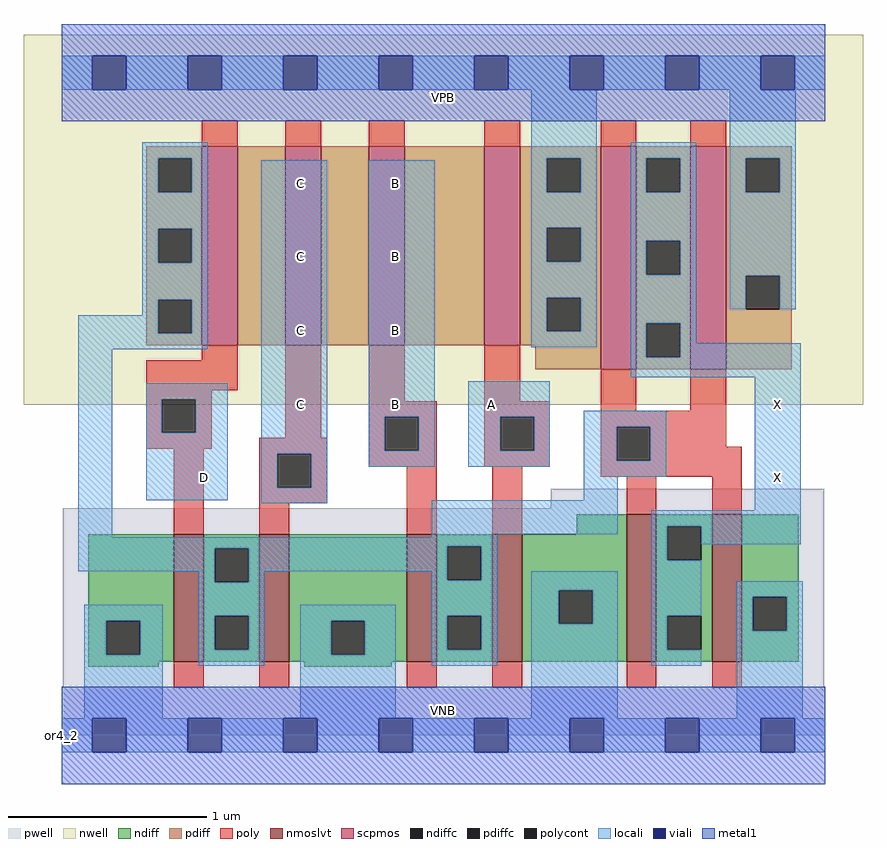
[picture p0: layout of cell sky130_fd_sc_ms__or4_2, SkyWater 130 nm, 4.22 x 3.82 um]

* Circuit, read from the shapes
.subckt sky130_fd_sc_ms__or4_2 A B C D VGND VNB VPB VPWR X
XM1 n1 D VGND VNB sky130_fd_pr__nfet_01v8_lvt w=0.64 l=0.15
XM2 VGND C n1 VNB sky130_fd_pr__nfet_01v8_lvt w=0.64 l=0.15
XM3 n1 B VGND VNB sky130_fd_pr__nfet_01v8_lvt w=0.64 l=0.15
XM4 VGND A n1 VNB sky130_fd_pr__nfet_01v8_lvt w=0.64 l=0.15
XM5 X n1 VGND VNB sky130_fd_pr__nfet_01v8_lvt w=0.74 l=0.15 m=2
XM6 n2 D n1 VPB sky130_fd_pr__pfet_01v8 w=1 l=0.18
XM7 n3 C n2 VPB sky130_fd_pr__pfet_01v8 w=1 l=0.18
XM8 n4 B n3 VPB sky130_fd_pr__pfet_01v8 w=1 l=0.18
XM9 VPWR A n4 VPB sky130_fd_pr__pfet_01v8 w=1 l=0.18
XM10 X n1 VPWR VPB sky130_fd_pr__pfet_01v8 w=1.12 l=0.18 m=2
.ends

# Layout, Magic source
magic
tech sky130A
magscale 1 2
<< nwell >>
rect -38 332 806 704
<< pwell >>
rect 492 228 767 248
rect 1 49 767 228
rect 0 0 768 49
<< scpmos >>
rect 141 392 177 592
rect 225 392 261 592
rect 309 392 345 592
rect 425 392 461 592
rect 542 368 578 592
rect 632 368 668 592
<< nmoslvt >>
rect 113 74 143 202
rect 199 74 229 202
rect 347 74 377 202
rect 433 74 463 202
rect 568 74 598 222
rect 654 74 684 222
<< ndiff >>
rect 518 202 568 222
rect 27 115 113 202
rect 27 81 45 115
rect 79 81 113 115
rect 27 74 113 81
rect 143 188 199 202
rect 143 154 154 188
rect 188 154 199 188
rect 143 120 199 154
rect 143 86 154 120
rect 188 86 199 120
rect 143 74 199 86
rect 229 115 347 202
rect 229 81 271 115
rect 305 81 347 115
rect 229 74 347 81
rect 377 190 433 202
rect 377 156 388 190
rect 422 156 433 190
rect 377 120 433 156
rect 377 86 388 120
rect 422 86 433 120
rect 377 74 433 86
rect 463 146 568 202
rect 463 112 500 146
rect 534 112 568 146
rect 463 74 568 112
rect 598 210 654 222
rect 598 176 609 210
rect 643 176 654 210
rect 598 120 654 176
rect 598 86 609 120
rect 643 86 654 120
rect 598 74 654 86
rect 684 139 741 222
rect 684 105 695 139
rect 729 105 741 139
rect 684 74 741 105
rect 27 69 98 74
rect 244 69 332 74
<< pdiff >>
rect 85 580 141 592
rect 85 546 97 580
rect 131 546 141 580
rect 85 509 141 546
rect 85 475 97 509
rect 131 475 141 509
rect 85 438 141 475
rect 85 404 97 438
rect 131 404 141 438
rect 85 392 141 404
rect 177 392 225 592
rect 261 392 309 592
rect 345 392 425 592
rect 461 580 542 592
rect 461 546 488 580
rect 522 546 542 580
rect 461 510 542 546
rect 461 476 488 510
rect 522 476 542 510
rect 461 440 542 476
rect 461 406 488 440
rect 522 406 542 440
rect 461 392 542 406
rect 476 368 542 392
rect 578 580 632 592
rect 578 546 588 580
rect 622 546 632 580
rect 578 497 632 546
rect 578 463 588 497
rect 622 463 632 497
rect 578 414 632 463
rect 578 380 588 414
rect 622 380 632 414
rect 578 368 632 380
rect 668 580 734 592
rect 668 546 688 580
rect 722 546 734 580
rect 668 462 734 546
rect 668 428 688 462
rect 722 428 734 462
rect 668 368 734 428
<< ndiffc >>
rect 45 81 79 115
rect 154 154 188 188
rect 154 86 188 120
rect 271 81 305 115
rect 388 156 422 190
rect 388 86 422 120
rect 500 112 534 146
rect 609 176 643 210
rect 609 86 643 120
rect 695 105 729 139
<< pdiffc >>
rect 97 546 131 580
rect 97 475 131 509
rect 97 404 131 438
rect 488 546 522 580
rect 488 476 522 510
rect 488 406 522 440
rect 588 546 622 580
rect 588 463 622 497
rect 588 380 622 414
rect 688 546 722 580
rect 688 428 722 462
<< poly >>
rect 141 592 177 618
rect 225 592 261 618
rect 309 592 345 618
rect 425 592 461 618
rect 542 592 578 618
rect 632 592 668 618
rect 141 377 177 392
rect 85 347 177 377
rect 85 338 151 347
rect 85 304 101 338
rect 135 304 151 338
rect 85 288 151 304
rect 225 299 261 392
rect 309 336 345 392
rect 425 336 461 392
rect 309 320 377 336
rect 113 202 143 288
rect 199 283 267 299
rect 199 249 217 283
rect 251 249 267 283
rect 309 286 325 320
rect 359 286 377 320
rect 309 270 377 286
rect 425 320 491 336
rect 425 286 441 320
rect 475 286 491 320
rect 425 270 491 286
rect 542 326 578 368
rect 632 326 668 368
rect 542 310 668 326
rect 542 276 558 310
rect 592 290 668 310
rect 592 276 684 290
rect 199 233 267 249
rect 199 202 229 233
rect 347 202 377 270
rect 433 202 463 270
rect 542 260 684 276
rect 568 222 598 260
rect 654 222 684 260
rect 113 48 143 74
rect 199 48 229 74
rect 347 48 377 74
rect 433 48 463 74
rect 568 48 598 74
rect 654 48 684 74
<< polycont >>
rect 101 304 135 338
rect 217 249 251 283
rect 325 286 359 320
rect 441 286 475 320
rect 558 276 592 310
<< locali >>
rect 0 649 31 683
rect 65 649 127 683
rect 161 649 223 683
rect 257 649 319 683
rect 353 649 415 683
rect 449 649 511 683
rect 545 649 607 683
rect 641 649 703 683
rect 737 649 768 683
rect 81 580 147 596
rect 81 546 97 580
rect 131 546 147 580
rect 472 580 538 649
rect 81 509 147 546
rect 81 475 97 509
rect 131 475 147 509
rect 81 438 147 475
rect 81 422 97 438
rect 17 404 97 422
rect 131 404 147 438
rect 17 388 147 404
rect 17 199 51 388
rect 85 338 167 354
rect 85 304 101 338
rect 135 304 167 338
rect 85 236 167 304
rect 201 283 267 578
rect 201 249 217 283
rect 251 249 267 283
rect 309 320 375 578
rect 472 546 488 580
rect 522 546 538 580
rect 472 510 538 546
rect 472 476 488 510
rect 522 476 538 510
rect 472 440 538 476
rect 472 406 488 440
rect 522 406 538 440
rect 472 390 538 406
rect 572 580 638 596
rect 572 546 588 580
rect 622 546 638 580
rect 572 497 638 546
rect 572 463 588 497
rect 622 463 638 497
rect 572 414 638 463
rect 672 580 738 649
rect 672 546 688 580
rect 722 546 738 580
rect 672 462 738 546
rect 672 428 688 462
rect 722 428 738 462
rect 572 380 588 414
rect 622 394 638 414
rect 622 380 743 394
rect 572 360 743 380
rect 309 286 325 320
rect 359 286 375 320
rect 309 270 375 286
rect 409 320 491 356
rect 409 286 441 320
rect 475 286 491 320
rect 409 270 491 286
rect 525 310 608 326
rect 525 276 558 310
rect 592 276 608 310
rect 201 233 267 249
rect 525 260 608 276
rect 525 236 559 260
rect 372 202 559 236
rect 697 226 743 360
rect 593 210 743 226
rect 372 199 438 202
rect 17 190 438 199
rect 17 188 388 190
rect 17 165 154 188
rect 138 154 154 165
rect 188 165 388 188
rect 188 154 204 165
rect 23 115 102 131
rect 23 81 45 115
rect 79 81 102 115
rect 23 17 102 81
rect 138 120 204 154
rect 372 156 388 165
rect 422 156 438 190
rect 593 176 609 210
rect 643 192 743 210
rect 138 86 154 120
rect 188 86 204 120
rect 138 70 204 86
rect 240 115 336 131
rect 240 81 271 115
rect 305 81 336 115
rect 240 17 336 81
rect 372 120 438 156
rect 372 86 388 120
rect 422 86 438 120
rect 372 70 438 86
rect 472 146 559 165
rect 472 112 500 146
rect 534 112 559 146
rect 472 17 559 112
rect 593 120 643 176
rect 593 86 609 120
rect 593 70 643 86
rect 679 139 745 155
rect 679 105 695 139
rect 729 105 745 139
rect 679 17 745 105
rect 0 -17 31 17
rect 65 -17 127 17
rect 161 -17 223 17
rect 257 -17 319 17
rect 353 -17 415 17
rect 449 -17 511 17
rect 545 -17 607 17
rect 641 -17 703 17
rect 737 -17 768 17
<< viali >>
rect 31 649 65 683
rect 127 649 161 683
rect 223 649 257 683
rect 319 649 353 683
rect 415 649 449 683
rect 511 649 545 683
rect 607 649 641 683
rect 703 649 737 683
rect 31 -17 65 17
rect 127 -17 161 17
rect 223 -17 257 17
rect 319 -17 353 17
rect 415 -17 449 17
rect 511 -17 545 17
rect 607 -17 641 17
rect 703 -17 737 17
<< metal1 >>
rect 0 683 768 715
rect 0 649 31 683
rect 65 649 127 683
rect 161 649 223 683
rect 257 649 319 683
rect 353 649 415 683
rect 449 649 511 683
rect 545 649 607 683
rect 641 649 703 683
rect 737 649 768 683
rect 0 617 768 649
rect 0 17 768 49
rect 0 -17 31 17
rect 65 -17 127 17
rect 161 -17 223 17
rect 257 -17 319 17
rect 353 -17 415 17
rect 449 -17 511 17
rect 545 -17 607 17
rect 641 -17 703 17
rect 737 -17 768 17
rect 0 -49 768 -17
<< labels >>
flabel pwell s 0 0 768 49 0 FreeSans 200 0 0 0 VNB
port 6 nsew ground bidirectional
flabel nwell s 0 617 768 666 0 FreeSans 200 0 0 0 VPB
port 7 nsew power bidirectional
rlabel comment s 0 0 0 0 4 or4_2
flabel metal1 s 0 617 768 666 0 FreeSans 340 0 0 0 VPWR
port 8 nsew power bidirectional
flabel metal1 s 0 0 768 49 0 FreeSans 340 0 0 0 VGND
port 5 nsew ground bidirectional
flabel locali s 703 242 737 276 0 FreeSans 340 0 0 0 X
port 9 nsew signal output
flabel locali s 703 316 737 350 0 FreeSans 340 0 0 0 X
port 9 nsew signal output
flabel locali s 127 242 161 276 0 FreeSans 340 0 0 0 D
port 4 nsew signal input
flabel locali s 415 316 449 350 0 FreeSans 340 0 0 0 A
port 1 nsew signal input
flabel locali s 319 316 353 350 0 FreeSans 340 0 0 0 B
port 2 nsew signal input
flabel locali s 319 390 353 424 0 FreeSans 340 0 0 0 B
port 2 nsew signal input
flabel locali s 319 464 353 498 0 FreeSans 340 0 0 0 B
port 2 nsew signal input
flabel locali s 319 538 353 572 0 FreeSans 340 0 0 0 B
port 2 nsew signal input
flabel locali s 223 316 257 350 0 FreeSans 340 0 0 0 C
port 3 nsew signal input
flabel locali s 223 390 257 424 0 FreeSans 340 0 0 0 C
port 3 nsew signal input
flabel locali s 223 464 257 498 0 FreeSans 340 0 0 0 C
port 3 nsew signal input
flabel locali s 223 538 257 572 0 FreeSans 340 0 0 0 C
port 3 nsew signal input
<< properties >>
string LEFsite unit
string LEFclass CORE
string FIXED_BBOX 0 0 768 666
string GDS_FILE $PDKPATH/libs.ref/sky130_fd_sc_ms/gds/sky130_fd_sc_ms.gds
string LEFsymmetry X Y
string GDS_END 327412
string GDS_START 320160
<< end >>
